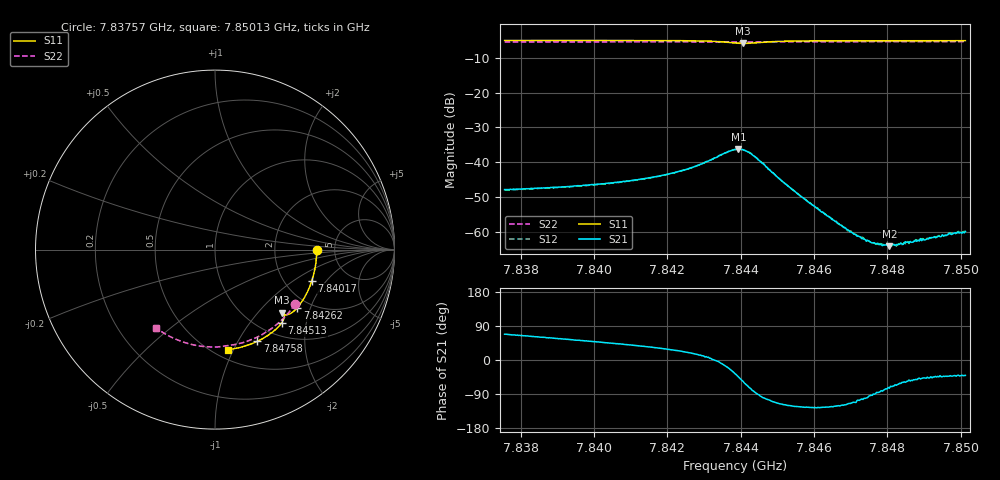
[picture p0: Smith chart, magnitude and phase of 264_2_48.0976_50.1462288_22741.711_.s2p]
#  HZ  S  RI  R  50.00
! Rohde & Schwarz Vector Network Analyzer
! Rohde-Schwarz,ZNB20-2Port,1311601062101988,3.16
! Created: UTC 12/23/2023, 4:01:05 AM
! freq[Hz]  re:S11  im:S11  re:S21  im:S21  re:S12  im:S12  re:S22  im:S22
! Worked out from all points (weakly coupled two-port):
!   401 points, 7.83757 GHz to 7.85013 GHz, reference 50 ohm
!   highest |S21| = -36.24 dB at 7.84394 GHz (marker M1); lowest = -64.2 dB at 7.84806 GHz (marker M2)
!   lowest |S11| = -5.8 dB at 7.84407 GHz (marker M3), VSWR 3.11, Z = 71.5 - j68.3 ohm
!   |S11| at or under -10 dB: nowhere
!   |S22| runs from -5.4 to -5.3 dB; largest |S21 - S12| = 0.00029
!   S11 on the Smith chart (normalised r, x): 7.83757 GHz: 3.61, -0.02; 7.84017 GHz: 2.81, -1.43; 7.84262 GHz: 1.72, -1.63; 7.84513 GHz: 1.24, -1.45; 7.84758 GHz: 0.81, -1.21; 7.85013 GHz: 0.58, -0.95
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7.837565e9  0.5664 -0.00155  0.0015 0.00373  0.00151 0.00367  0.4464 -0.3034
7.83967e9  0.5494 -0.1406  0.00285 0.00356  0.00286 0.00354  0.3485 -0.4131
7.840172e9  0.5399 -0.1732  0.0033 0.00355  0.00325 0.00351  0.3209 -0.4351
7.84102e9  0.519 -0.227  0.00419 0.00344  0.00413 0.00344  0.2715 -0.468
7.841774e9  0.4948 -0.2736  0.00537 0.00328  0.00533 0.00329  0.2245 -0.4926
7.842622e9  0.459 -0.3238  0.00775 0.00266  0.00773 0.00265  0.1688 -0.5144
7.843376e9  0.4114 -0.3605  0.012 -0.000755  0.0119 -0.000794  0.1176 -0.5276
7.843627e9  0.3915 -0.3641  0.0132 -0.00439  0.0131 -0.00422  0.1003 -0.5304
7.843847e9  0.3773 -0.3595  0.0123 -0.00897  0.0124 -0.00875  0.0859 -0.5323
7.843941e9  0.3745 -0.3555  0.0111 -0.0107  0.011 -0.0108  0.0799 -0.5329
7.844067e9  0.3745 -0.3514  0.00838 -0.0125  0.00843 -0.0125  0.0722 -0.5341
7.844224e9  0.379 -0.3508  0.00436 -0.0131  0.00446 -0.0133  0.0622 -0.5357
7.844413e9  0.3848 -0.3583  0.000627 -0.0117  0.000719 -0.0117  0.0498 -0.538
7.845135e9  0.3717 -0.4077  -0.00239 -0.00472  -0.00236 -0.00471  -0.000663 -0.5426
7.845952e9  0.3312 -0.4511  -0.00139 -0.00197  -0.0014 -0.00198  -0.0583 -0.5404
7.846863e9  0.2794 -0.4877  -0.00053 -0.000985  -0.000487 -0.00101  -0.1216 -0.5305
7.847365e9  0.2494 -0.5043  -0.000151 -0.000762  -0.000175 -0.000764  -0.1558 -0.5219
7.847585e9  0.2362 -0.5107  -4.1e-05 -0.000683  -4.25e-05 -0.000693  -0.1707 -0.5173
7.848056e9  0.2069 -0.5235  0.000165 -0.000593  0.000133 -0.000612  -0.2018 -0.5063
7.848464e9  0.1813 -0.533  0.000365 -0.000574  0.000343 -0.000605  -0.2282 -0.4952
7.84881e9  0.1592 -0.54  0.000447 -0.000569  0.000462 -0.000576  -0.2501 -0.4846
7.850129e9  0.0731 -0.5577  0.00076 -0.00065  0.000762 -0.000672  -0.3287 -0.436
